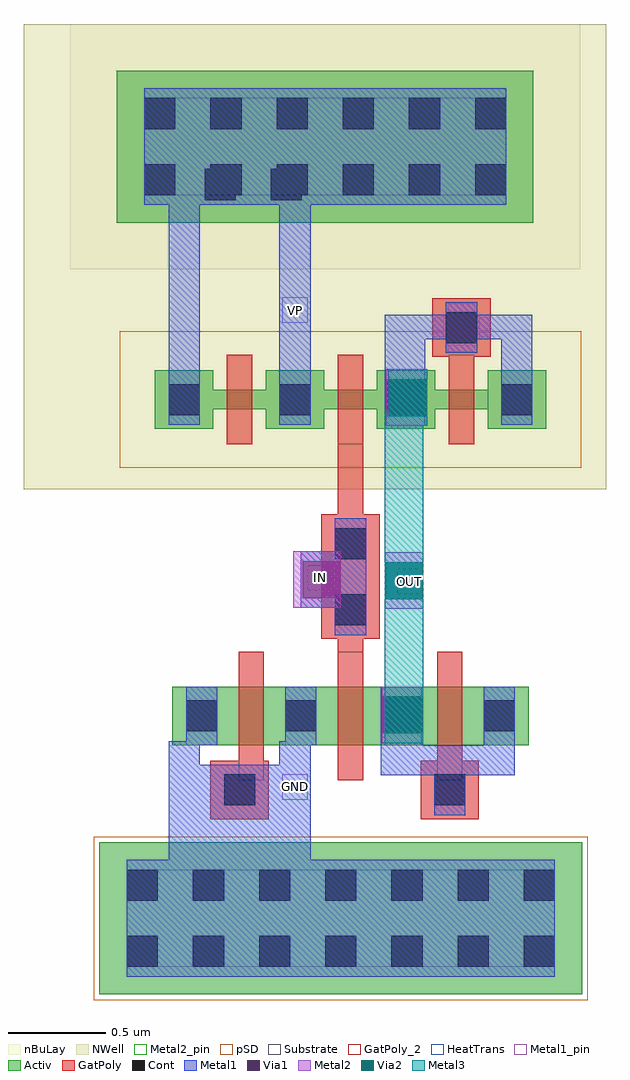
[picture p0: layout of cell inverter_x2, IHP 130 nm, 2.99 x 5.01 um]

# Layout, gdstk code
from math import pi, radians
import gdstk
lib = gdstk.Library(unit=1e-6, precision=1e-09)
def R(c, l, rs):  # rectangles x0, y0, x1, y1
    for r in rs: c.add(gdstk.rectangle(r[:2], r[2:], *l))
def A(c, l, x, y, w, h, nx, ny, dx, dy):  # array of equal rectangles
    R(c, l, [(x+i*dx, y+j*dy, x+i*dx+w, y+j*dy+h) for i in range(nx) for j in range(ny)])
Activ = (1, 0)
GatPoly = (5, 0)
GatPoly_2 = (5, 2)
Cont = (6, 0)
Metal1 = (8, 0)
Metal1_pin = (8, 2)
Metal2 = (10, 0)
Metal2_pin = (10, 2)
pSD = (14, 0)
Via1 = (19, 0)
Via2 = (29, 0)
Metal3 = (30, 0)
NWell = (31, 0)
nBuLay = (32, 0)
Substrate = (40, 0)
HeatTrans = (51, 0)

nmos_2 = lib.new_cell('nmos$2')
A(nmos_2, Activ, 0, 0, 0.3, 0.3, 4, 1, 0.51, 0)
R(nmos_2, Activ, [(0,0,1.83,0.3)])
A(nmos_2, GatPoly, 0.34, -0.18, 0.13, 0.66, 3, 1, 0.51, 0)
R(nmos_2, GatPoly_2, [(0.34,-0.18,0.47,0.48)])
A(nmos_2, Cont, 0.07, 0.07, 0.16, 0.16, 4, 1, 0.51, 0)
A(nmos_2, Metal1, 0.07, 0, 0.16, 0.3, 4, 1, 0.51, 0)
R(nmos_2, Metal1_pin, [(0.07,0,0.23,0.3), (0.58,0,0.74,0.3)])
A(nmos_2, HeatTrans, 0.34, -0.18, 0.13, 0.66, 3, 1, 0.51, 0)
nmos_2.add(gdstk.Label('nmos', (0.405,0.15), layer=63, texttype=0))
nmos_2.add(gdstk.Label('nmos', (0.405,0.15), layer=51, texttype=0))
nmos_2.add(gdstk.Label('nmos', (0.915,0.15), layer=51, texttype=0))
nmos_2.add(gdstk.Label('nmos', (1.425,0.15), layer=51, texttype=0))

via_1 = lib.new_cell('Via$1')
R(via_1, Metal1, [(-0.145,-0.105,0.145,0.105)])
R(via_1, Metal2, [(-0.145,-0.1,0.145,0.1)])
R(via_1, Via1, [(-0.095,-0.095,0.095,0.095)])

via_3 = lib.new_cell('Via$3')
R(via_3, Metal2, [(-0.145,-0.1,0.145,0.1)])
R(via_3, Via2, [(-0.095,-0.095,0.095,0.095)])
R(via_3, Metal3, [(-0.145,-0.1,0.145,0.1)])

via = lib.new_cell('Via')
R(via, GatPoly, [(-0.15,-0.32,0.15,0.32)])
R(via, Cont, [(-0.08,-0.25,0.08,-0.09), (-0.08,0.09,0.08,0.25)])
R(via, Metal1, [(-0.08,-0.3,0.08,0.3)])

via_2 = lib.new_cell('Via$2')
R(via_2, GatPoly, [(-0.15,-0.15,0.15,0.15)])
R(via_2, Cont, [(-0.08,-0.08,0.08,0.08)])
R(via_2, Metal1, [(-0.13,-0.08,0.13,0.08)])

pmos_2 = lib.new_cell('pmos$2')
A(pmos_2, Activ, 0, 0, 0.3, 0.3, 4, 1, 0.57, 0)
R(pmos_2, Activ, [(0,0.1,2.01,0.2)])
A(pmos_2, GatPoly, 0.37, -0.08, 0.13, 0.46, 3, 1, 0.57, 0)
R(pmos_2, GatPoly, [(0.37,-0.08,0.5,0.38)])
A(pmos_2, Cont, 0.07, 0.07, 0.16, 0.16, 4, 1, 0.57, 0)
A(pmos_2, Metal1, 0.64, 0.02, 0.16, 0.26, 3, 1, 0.57, 0)
R(pmos_2, Metal1, [(0.07,0.02,0.23,0.28), (0.07,0.02,0.23,0.28), (0.64,0.02,0.8,0.28)])
R(pmos_2, pSD, [(-0.18,-0.2,2.19,0.5)])
R(pmos_2, NWell, [(-0.31,-0.31,2.32,0.61)])
R(pmos_2, Substrate, [(1.71,0,2.01,0.3)])
A(pmos_2, HeatTrans, 0.37, -0.08, 0.13, 0.46, 3, 1, 0.57, 0)
pmos_2.add(gdstk.Label('pmos', (0.435,0.15), layer=63, texttype=0))
pmos_2.add(gdstk.Label('pmos', (0.435,0.15), layer=51, texttype=0))
pmos_2.add(gdstk.Label('pmos', (1.005,0.15), layer=51, texttype=0))
pmos_2.add(gdstk.Label('pmos', (1.575,0.15), layer=51, texttype=0))

ptap = lib.new_cell('ptap')
R(ptap, Activ, [(-0.425,-1.215,0.355,-0.435)])
R(ptap, Cont, [(-0.285,-1.075,-0.125,-0.915), (0.055,-1.075,0.215,-0.915), (-0.285,-0.735,-0.125,-0.575), (0.055,-0.735,0.215,-0.575)])
R(ptap, Metal1, [(-0.285,-1.125,0.215,-0.525)])
R(ptap, Metal1_pin, [(-0.285,-1.075,0.215,-0.575)])
R(ptap, pSD, [(-0.455,-1.245,0.385,-0.405)])

ntap = lib.new_cell('ntap')
R(ntap, Activ, [(-0.665,-0.22,0.115,0.56)])
R(ntap, Cont, [(-0.215,-0.105,-0.055,0.055), (-0.525,-0.08,-0.365,0.08), (-0.525,0.26,-0.365,0.42), (-0.185,0.26,-0.025,0.42)])
R(ntap, Metal1, [(-0.525,-0.13,-0.025,0.47)])
R(ntap, Metal1_pin, [(-0.525,-0.08,-0.025,0.42)])
R(ntap, NWell, [(-0.905,-0.46,0.355,0.8)])
R(ntap, nBuLay, [(-0.905,-0.46,0.355,0.8)])

inverter_x2 = lib.new_cell('inverter_x2')
A(inverter_x2, Activ, -1.49, -2.62, 0.78, 0.78, 4, 1, 0.34, 0)
A(inverter_x2, Activ, -0.47, -2.62, 0.78, 0.78, 3, 1, 0.34, 0)
A(inverter_x2, Activ, -1.4, 1.345, 0.78, 0.78, 3, 1, 0.34, 0)
R(inverter_x2, Activ, [(-0.72,1.345,0.06,2.125), (-0.38,1.345,0.4,2.125), (-0.38,1.345,0.4,2.125), (-0.04,1.345,0.74,2.125)])
R(inverter_x2, GatPoly, [(-0.265,-0.97,-0.135,-0.935), (-0.265,-0.935,-0.135,-0.735), (-0.265,-0.155,-0.135,0.205)])
A(inverter_x2, Cont, -1.01, -2.48, 0.16, 0.16, 3, 2, 0.34, 0.34)
A(inverter_x2, Cont, 0.01, -2.48, 0.16, 0.16, 3, 2, 0.34, 0.34)
R(inverter_x2, Cont, [(-1.35,-2.48,-1.19,-2.32), (-1.01,-2.48,-0.85,-2.32), (-0.33,-2.48,-0.17,-2.32), (0.01,-2.48,0.17,-2.32), (-1.35,-2.14,-1.19,-1.98), (-1.01,-2.14,-0.85,-1.98), (-0.33,-2.14,-0.17,-1.98), (0.01,-2.14,0.17,-1.98), (-0.95,1.46,-0.79,1.62), (-0.95,1.46,-0.79,1.62), (-0.61,1.46,-0.45,1.62), (-1.26,1.485,-1.1,1.645), (-0.58,1.485,-0.42,1.645), (-0.24,1.485,-0.08,1.645), (-0.24,1.485,-0.08,1.645), (0.1,1.485,0.26,1.645), (0.1,1.485,0.26,1.645), (0.44,1.485,0.6,1.645), (-1.26,1.825,-1.1,1.985), (-0.92,1.825,-0.76,1.985), (-0.92,1.825,-0.76,1.985), (-0.58,1.825,-0.42,1.985), (-0.58,1.825,-0.42,1.985), (-0.24,1.825,-0.08,1.985), (-0.24,1.825,-0.08,1.985), (0.1,1.825,0.26,1.985), (0.1,1.825,0.26,1.985), (0.44,1.825,0.6,1.985)])
A(inverter_x2, Metal1, -1.35, -2.53, 0.5, 0.6, 4, 1, 0.34, 0)
A(inverter_x2, Metal1, -0.33, -2.53, 0.5, 0.6, 3, 1, 0.34, 0)
A(inverter_x2, Metal1, -1.26, 1.435, 0.5, 0.6, 3, 1, 0.34, 0)
R(inverter_x2, Metal1, [(-0.975,-2.085,-0.565,-1.668), (-0.565,-2.035,-0.405,-1.885), (-1.135,-2.015,-0.975,-1.32), (-0.565,-1.885,-0.405,-1.32), (-1.05,-1.7,-0.85,-1.44), (-0.69,-1.7,-0.565,-1.44), (-0.045,-1.495,0.175,-1.33), (0.15,-1.495,0.645,-1.34), (-1.135,0.565,-0.975,1.515), (-0.565,0.565,-0.405,1.555), (0.575,0.565,0.735,0.87), (-0.025,0.59,0.185,0.833), (-0.025,0.745,0.575,0.87), (-0.02,0.795,0.575,0.87), (-0.58,1.435,-0.08,2.035), (-0.24,1.435,0.26,2.035), (-0.24,1.435,0.26,2.035), (0.1,1.435,0.6,2.035)])
A(inverter_x2, Metal1_pin, -1.35, -2.48, 0.5, 0.5, 4, 1, 0.34, 0)
A(inverter_x2, Metal1_pin, -0.33, -2.48, 0.5, 0.5, 3, 1, 0.34, 0)
A(inverter_x2, Metal1_pin, -1.26, 1.485, 0.5, 0.5, 3, 1, 0.34, 0)
R(inverter_x2, Metal1_pin, [(-0.55,-1.62,-0.42,-1.49), (-0.42,-0.545,-0.29,-0.415), (-0.55,0.83,-0.42,0.96), (-0.58,1.485,-0.08,1.985), (-0.24,1.485,0.26,1.985), (-0.24,1.485,0.26,1.985), (0.1,1.485,0.6,1.985)])
R(inverter_x2, Metal2, [(-0.495,-0.635,-0.25,-0.345)])
R(inverter_x2, Metal2_pin, [(0.04,-0.565,0.17,-0.435)])
A(inverter_x2, pSD, -1.52, -2.65, 0.84, 0.84, 4, 1, 0.34, 0)
A(inverter_x2, pSD, -0.5, -2.65, 0.84, 0.84, 3, 1, 0.34, 0)
R(inverter_x2, Metal3, [(-0.025,-1.04,0.175,0.38)])
A(inverter_x2, NWell, -1.64, 1.105, 1.26, 1.26, 3, 1, 0.34, 0)
R(inverter_x2, NWell, [(-1.88,-0.025,1.115,2.365), (-1.3,0,0.755,2.27), (0.755,0,0.98,2.27), (-1.88,1.015,0.75,2.365), (-1.54,1.015,1.09,2.365), (-0.96,1.105,0.3,2.365), (-0.62,1.105,0.64,2.365), (-0.62,1.105,0.64,2.365), (-0.28,1.105,0.98,2.365)])
A(inverter_x2, nBuLay, -1.64, 1.105, 1.26, 1.26, 3, 1, 0.34, 0)
R(inverter_x2, nBuLay, [(-0.96,1.105,0.3,2.365), (-0.62,1.105,0.64,2.365), (-0.62,1.105,0.64,2.365), (-0.28,1.105,0.98,2.365)])
inverter_x2.add(gdstk.Reference(nmos_2, (-1.115,-1.34)))
inverter_x2.add(gdstk.Reference(via_1, (0.06,-1.185), rotation=pi/2))
inverter_x2.add(gdstk.Reference(via_1, (-0.35,-0.49), rotation=pi/2))
inverter_x2.add(gdstk.Reference(via_1, (0.08,0.445), rotation=pi/2))
inverter_x2.add(gdstk.Reference(via_3, (0.075,-1.185), rotation=pi/2))
inverter_x2.add(gdstk.Reference(via_3, (0.075,-0.495), rotation=pi/2))
inverter_x2.add(gdstk.Reference(via_3, (0.095,0.445), rotation=pi/2))
inverter_x2.add(gdstk.Reference(via, (-0.2,-0.475)))
inverter_x2.add(gdstk.Reference(via_2, (-0.77,-1.57), rotation=pi/2))
inverter_x2.add(gdstk.Reference(via_2, (0.31,-1.57), rotation=pi/2))
inverter_x2.add(gdstk.Reference(via_2, (0.37,0.805), rotation=pi/2))
inverter_x2.add(gdstk.Reference(pmos_2, (-1.205,0.285)))
inverter_x2.add(gdstk.Reference(ptap, (-0.385,-1.405)))
inverter_x2.add(gdstk.Reference(ntap, (-0.395,1.565)))
inverter_x2.add(gdstk.Label('GND', (-0.485,-1.555), layer=8, texttype=25))
inverter_x2.add(gdstk.Label('VP', (-0.485,0.895), layer=8, texttype=25))
inverter_x2.add(gdstk.Label('IN', (-0.355,-0.48), layer=8, texttype=25))
inverter_x2.add(gdstk.Label('OUT', (0.105,-0.5), layer=10, texttype=25))

lib.write_gds('inverter_x2.gds')
